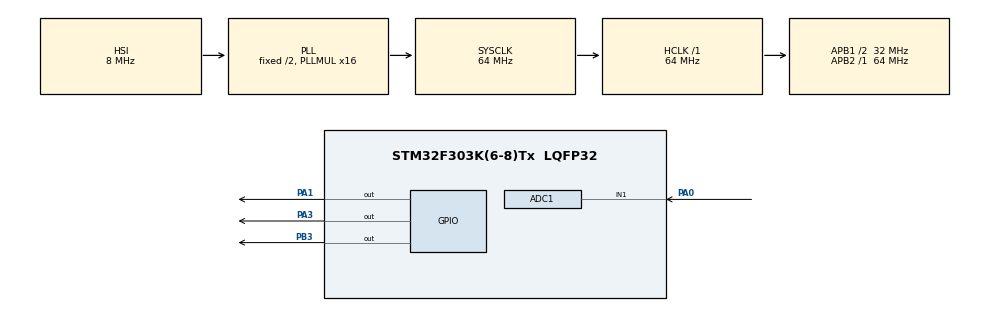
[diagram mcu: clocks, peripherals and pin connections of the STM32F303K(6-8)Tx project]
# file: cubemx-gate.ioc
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ADC1.Channel-0\#ChannelRegularConversion=ADC_CHANNEL_1
ADC1.ClockPrescaler=ADC_CLOCK_ASYNC_DIV1
ADC1.EnableInjectedConversion=DISABLE
ADC1.NbrOfConversion=1
ADC1.NbrOfConversionFlag=1
ADC1.Offset-0\#ChannelRegularConversion=0
ADC1.OffsetNumber-0\#ChannelRegularConversion=ADC_OFFSET_NONE
ADC1.Rank-0\#ChannelRegularConversion=1
ADC1.SamplingTime-0\#ChannelRegularConversion=ADC_SAMPLETIME_61CYCLES_5
ADC1.SubFamily=STM32F303x8
ADC1.master=1
Mcu.Family=STM32F3
Mcu.Name=STM32F303K(6-8)Tx
Mcu.Package=LQFP32
NVIC.PriorityGroup=NVIC_PRIORITYGROUP_4
PA0.Signal=SharedAnalog_PA0
PA1.GPIO_ModeDefaultOutputPP=GPIO_MODE_OUTPUT_PP
PA1.PinState=GPIO_PIN_RESET
PA1.Signal=GPIO_Output
PA3.Signal=GPIO_Output
PB3.Signal=GPIO_Output
ProjectManager.HeapSize=0x200
ProjectManager.StackSize=0x400
ProjectManager.TargetToolchain=STM32CubeIDE
RCC.AHBFreq_Value=64000000
RCC.APB1CLKDivider=RCC_HCLK_DIV2
RCC.APB1Freq_Value=32000000
RCC.APB1TimFreq_Value=64000000
RCC.APB2Freq_Value=64000000
RCC.APB2TimFreq_Value=64000000
RCC.CortexFreq_Value=64000000
RCC.HCLKFreq_Value=64000000
RCC.HSE_VALUE=8000000
RCC.HSI_VALUE=8000000
RCC.PLLMUL=RCC_PLL_MUL16
RCC.SYSCLKFreq_VALUE=64000000
RCC.SYSCLKSourceVirtual=RCC_SYSCLKSOURCE_PLLCLK
SH.SharedAnalog_PA0.0=GPIO_Analog
SH.SharedAnalog_PA0.1=ADC1_IN1,IN1-Single-Ended
board=custom

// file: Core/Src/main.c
/* USER CODE BEGIN Header */
/**
  ******************************************************************************
  * @file           : main.c
  * @brief          : Main program body
  ******************************************************************************
  * @attention
  *
  * <h2><center>&copy; Copyright (c) 2020 STMicroelectronics.
  * All rights reserved.</center></h2>
  *
  * This software component is licensed by ST under BSD 3-Clause license,
  * the "License"; You may not use this file except in compliance with the
  * License. You may obtain a copy of the License at:
  *                        opensource.org/licenses/BSD-3-Clause
  *
  ******************************************************************************
  */
/* USER CODE END Header */
#include "main.h"

/* USER CODE BEGIN PTD */

typedef enum {
    GATE_OPEN,
    GATE_CLOSE
} GateAction;

typedef enum {
    GATE_TIME_DAY,
    GATE_TIME_NIGHT,
    GATE_TIME_UNDEFINED
} GateTime;

/* USER CODE END PTD */

/* USER CODE BEGIN PD */

#define FIXED_RESISTANCE      1284.0f
#define THRESHOLD_RESISTANCE  240000.0f
#define HYSTERESIS_RESISTANCE 10000.0f

#define MAX_ADC_VALUE 4095
#define CALC_ADC_VALUE(VAR_RESISTANCE) ((uint16_t) ((float) MAX_ADC_VALUE * (FIXED_RESISTANCE / ((VAR_RESISTANCE) + FIXED_RESISTANCE))))

#define DAY_ADC_VALUE   CALC_ADC_VALUE(THRESHOLD_RESISTANCE + HYSTERESIS_RESISTANCE)
#define NIGHT_ADC_VALUE CALC_ADC_VALUE(THRESHOLD_RESISTANCE - HYSTERESIS_RESISTANCE)

#define GPIO_PIN_POWER  GPIO_PIN_1
#define GPIO_PIN_DIR    GPIO_PIN_3
#define GATE_POWER_TIME 10000

#define GATE_CONFIRM_TIME (uint32_t) 120000
#define AUTO_RESET_INTERVAL (uint32_t) 604800000
#define GATE_CHECK_INTERNAL (uint32_t) 60000
#define AFTER_SWITCH_DELAY (uint32_t) 60000

/* USER CODE END PD */

ADC_HandleTypeDef hadc1;

/* USER CODE BEGIN PV */
uint16_t inputVoltage;
GateTime currentTime = GATE_TIME_UNDEFINED;
GateTime pendingTime = GATE_TIME_UNDEFINED;
uint32_t pendingTimeStart;
/* USER CODE END PV */

void SystemClock_Config(void);
static void MX_GPIO_Init(void);
static void MX_ADC1_Init(void);

/* USER CODE BEGIN 0 */
static void Gate_Switch(GateAction action) {
  HAL_GPIO_WritePin(GPIOA, GPIO_PIN_POWER, GPIO_PIN_RESET);
  HAL_Delay(500);
  HAL_GPIO_WritePin(GPIOA, GPIO_PIN_DIR, action == GATE_CLOSE ? GPIO_PIN_SET : GPIO_PIN_RESET);
  HAL_Delay(500);
  HAL_GPIO_WritePin(GPIOA, GPIO_PIN_POWER, GPIO_PIN_SET);
  HAL_Delay(GATE_POWER_TIME);
  HAL_GPIO_WritePin(GPIOA, GPIO_PIN_POWER, GPIO_PIN_RESET);
  HAL_Delay(500);
  HAL_GPIO_WritePin(GPIOA, GPIO_PIN_DIR, GPIO_PIN_RESET);
}
/* USER CODE END 0 */

int main(void)
{

  /* MCU Configuration--------------------------------------------------------*/

  /* Reset of all peripherals, Initializes the Flash interface and the Systick. */
  HAL_Init();

  /* Configure the system clock */
  SystemClock_Config();

  /* Initialize all configured peripherals */
  MX_GPIO_Init();
  MX_ADC1_Init();
  /* USER CODE BEGIN 2 */

  uint16_t day_adc_value = DAY_ADC_VALUE;
  uint16_t night_adc_value = NIGHT_ADC_VALUE;

  /* USER CODE END 2 */

  /* Infinite loop */
  while (1)
  {

    /* USER CODE BEGIN 3 */

    HAL_ADC_Start(&hadc1);
    HAL_ADC_PollForConversion(&hadc1, 10);
    inputVoltage = HAL_ADC_GetValue(&hadc1);
    HAL_ADC_Stop(&hadc1);

    if (pendingTime != GATE_TIME_NIGHT && inputVoltage < night_adc_value) {
      pendingTime = GATE_TIME_NIGHT;
      pendingTimeStart = HAL_GetTick();
    } else if (pendingTime != GATE_TIME_DAY && inputVoltage > day_adc_value) {
      pendingTime = GATE_TIME_DAY;
      pendingTimeStart = HAL_GetTick();
    }

    if (pendingTime != currentTime) {
      uint32_t confirmTime = HAL_GetTick() - pendingTimeStart;
      if (confirmTime >= GATE_CONFIRM_TIME) {
        HAL_GPIO_WritePin(GPIOB, GPIO_PIN_3, GPIO_PIN_RESET);
        if ((currentTime = pendingTime) == GATE_TIME_DAY) {
          Gate_Switch(GATE_OPEN);
        } else {
          Gate_Switch(GATE_CLOSE);
        }
        HAL_Delay(AFTER_SWITCH_DELAY);
      } else {
        HAL_GPIO_TogglePin(GPIOB, GPIO_PIN_3);
        // Cette logique permet de faire clignoter la LED à 100 ms quand le
        // changement est imminent.
        float confirmPercentage = (float) confirmTime / GATE_CONFIRM_TIME;
        HAL_Delay(500 - (uint32_t) (confirmPercentage * 400));
      }
    } else {
      HAL_GPIO_WritePin(GPIOB, GPIO_PIN_3, GPIO_PIN_RESET);
      HAL_Delay(GATE_CHECK_INTERNAL);
    }

    // Reset automatique toutes les semaines, cela permet de remettre
    // le compteur de ticks à zero pour éviter un dépassement.
    if (HAL_GetTick() > AUTO_RESET_INTERVAL) {
      HAL_NVIC_SystemReset();
    }

  }
  /* USER CODE END 3 */
}

void SystemClock_Config(void)
{
  RCC_OscInitTypeDef RCC_OscInitStruct = {0};
  RCC_ClkInitTypeDef RCC_ClkInitStruct = {0};
  RCC_PeriphCLKInitTypeDef PeriphClkInit = {0};

  /** Initializes the RCC Oscillators according to the specified parameters
  * in the RCC_OscInitTypeDef structure.
  */
  RCC_OscInitStruct.OscillatorType = RCC_OSCILLATORTYPE_HSI;
  RCC_OscInitStruct.HSIState = RCC_HSI_ON;
  RCC_OscInitStruct.HSICalibrationValue = RCC_HSICALIBRATION_DEFAULT;
  RCC_OscInitStruct.PLL.PLLState = RCC_PLL_ON;
  RCC_OscInitStruct.PLL.PLLSource = RCC_PLLSOURCE_HSI;
  RCC_OscInitStruct.PLL.PLLMUL = RCC_PLL_MUL16;
  if (HAL_RCC_OscConfig(&RCC_OscInitStruct) != HAL_OK)
  {
    Error_Handler();
  }

  /** Initializes the CPU, AHB and APB buses clocks
  */
  RCC_ClkInitStruct.ClockType = RCC_CLOCKTYPE_HCLK|RCC_CLOCKTYPE_SYSCLK
                              |RCC_CLOCKTYPE_PCLK1|RCC_CLOCKTYPE_PCLK2;
  RCC_ClkInitStruct.SYSCLKSource = RCC_SYSCLKSOURCE_PLLCLK;
  RCC_ClkInitStruct.AHBCLKDivider = RCC_SYSCLK_DIV1;
  RCC_ClkInitStruct.APB1CLKDivider = RCC_HCLK_DIV2;
  RCC_ClkInitStruct.APB2CLKDivider = RCC_HCLK_DIV1;

  if (HAL_RCC_ClockConfig(&RCC_ClkInitStruct, FLASH_LATENCY_2) != HAL_OK)
  {
    Error_Handler();
  }
  PeriphClkInit.PeriphClockSelection = RCC_PERIPHCLK_ADC12;
  PeriphClkInit.Adc12ClockSelection = RCC_ADC12PLLCLK_DIV1;
  if (HAL_RCCEx_PeriphCLKConfig(&PeriphClkInit) != HAL_OK)
  {
    Error_Handler();
  }
}

static void MX_ADC1_Init(void)
{

  ADC_MultiModeTypeDef multimode = {0};
  ADC_ChannelConfTypeDef sConfig = {0};

  /** Common config
  */
  hadc1.Instance = ADC1;
  hadc1.Init.ClockPrescaler = ADC_CLOCK_ASYNC_DIV1;
  hadc1.Init.Resolution = ADC_RESOLUTION_12B;
  hadc1.Init.ScanConvMode = ADC_SCAN_DISABLE;
  hadc1.Init.ContinuousConvMode = DISABLE;
  hadc1.Init.DiscontinuousConvMode = DISABLE;
  hadc1.Init.ExternalTrigConvEdge = ADC_EXTERNALTRIGCONVEDGE_NONE;
  hadc1.Init.ExternalTrigConv = ADC_SOFTWARE_START;
  hadc1.Init.DataAlign = ADC_DATAALIGN_RIGHT;
  hadc1.Init.NbrOfConversion = 1;
  hadc1.Init.DMAContinuousRequests = DISABLE;
  hadc1.Init.EOCSelection = ADC_EOC_SINGLE_CONV;
  hadc1.Init.LowPowerAutoWait = DISABLE;
  hadc1.Init.Overrun = ADC_OVR_DATA_OVERWRITTEN;
  if (HAL_ADC_Init(&hadc1) != HAL_OK)
  {
    Error_Handler();
  }

  /** Configure the ADC multi-mode
  */
  multimode.Mode = ADC_MODE_INDEPENDENT;
  if (HAL_ADCEx_MultiModeConfigChannel(&hadc1, &multimode) != HAL_OK)
  {
    Error_Handler();
  }

  /** Configure Regular Channel
  */
  sConfig.Channel = ADC_CHANNEL_1;
  sConfig.Rank = ADC_REGULAR_RANK_1;
  sConfig.SingleDiff = ADC_SINGLE_ENDED;
  sConfig.SamplingTime = ADC_SAMPLETIME_61CYCLES_5;
  sConfig.OffsetNumber = ADC_OFFSET_NONE;
  sConfig.Offset = 0;
  if (HAL_ADC_ConfigChannel(&hadc1, &sConfig) != HAL_OK)
  {
    Error_Handler();
  }

}

static void MX_GPIO_Init(void)
{
  GPIO_InitTypeDef GPIO_InitStruct = {0};

  /* GPIO Ports Clock Enable */
  __HAL_RCC_GPIOA_CLK_ENABLE();
  __HAL_RCC_GPIOB_CLK_ENABLE();

  /*Configure GPIO pin Output Level */
  HAL_GPIO_WritePin(GPIOA, GPIO_PIN_1|GPIO_PIN_3, GPIO_PIN_RESET);

  /*Configure GPIO pin Output Level */
  HAL_GPIO_WritePin(GPIOB, GPIO_PIN_3, GPIO_PIN_RESET);

  /*Configure GPIO pins : PA1 PA3 */
  GPIO_InitStruct.Pin = GPIO_PIN_1|GPIO_PIN_3;
  GPIO_InitStruct.Mode = GPIO_MODE_OUTPUT_PP;
  GPIO_InitStruct.Pull = GPIO_NOPULL;
  GPIO_InitStruct.Speed = GPIO_SPEED_FREQ_LOW;
  HAL_GPIO_Init(GPIOA, &GPIO_InitStruct);

  /*Configure GPIO pin : PB3 */
  GPIO_InitStruct.Pin = GPIO_PIN_3;
  GPIO_InitStruct.Mode = GPIO_MODE_OUTPUT_PP;
  GPIO_InitStruct.Pull = GPIO_NOPULL;
  GPIO_InitStruct.Speed = GPIO_SPEED_FREQ_LOW;
  HAL_GPIO_Init(GPIOB, &GPIO_InitStruct);

}

void Error_Handler(void)
{
  __disable_irq();
  while (1)
  {
  }
}
